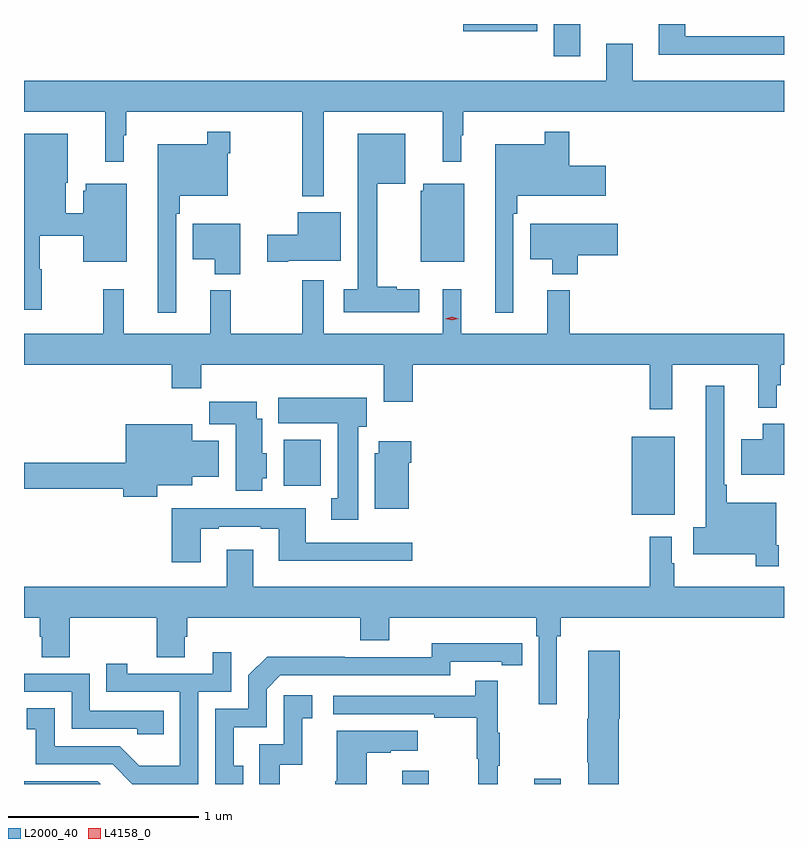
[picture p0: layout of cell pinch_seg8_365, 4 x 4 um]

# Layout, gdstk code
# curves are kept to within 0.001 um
import gdstk
lib = gdstk.Library(unit=1e-6, precision=1e-09)
def R(c, l, rs):  # rectangles x0, y0, x1, y1
    for r in rs: c.add(gdstk.rectangle(r[:2], r[2:], *l))
def P(c, l, *ps):  # polygons
    for p in ps: c.add(gdstk.Polygon(p, *l))
L2000_40 = (2000, 40)
L4158_0 = (4158, 0)

pinch_seg8_365 = lib.new_cell('pinch_seg8_365')
R(pinch_seg8_365, L2000_40, [(486.479,1099.642,486.619,1099.711), (487.175,1099.642,487.315,1099.669), (487.688,1101.059,487.915,1101.469), (485.855,1101.212,486.052,1101.454), (487.277,1103.472,487.417,1103.642), (486.8,1103.603,487.189,1103.642)])
P(pinch_seg8_365, L2000_40, [(488.489,1103.577),(487.969,1103.577),(487.969,1103.642),(487.829,1103.642),(487.829,1103.48),(488.489,1103.48)],
  [(486.067,1103.18),(486.692,1103.18),(486.692,1102.917),(486.79,1102.917),(486.79,1103.057),(486.802,1103.057),(486.802,1103.18),(488.489,1103.18),(488.489,1103.344),(487.693,1103.344),(487.693,1103.539),(487.553,1103.539),(487.553,1103.344),(484.489,1103.344),(484.489,1103.18),(484.916,1103.18),(484.916,1102.917),(485.014,1102.917),(485.014,1103.057),(485.026,1103.057),(485.026,1103.18),(485.953,1103.18),(485.953,1102.736),(486.067,1102.736)],
  [(485.289,1102.643),(485.309,1102.643),(485.309,1102.739),(485.562,1102.739),(485.562,1102.961),(485.575,1102.961),(485.575,1103.074),(485.454,1103.074),(485.454,1103.008),(485.192,1103.008),(485.192,1102.122),(485.289,1102.122)],
  [(487.065,1102.643),(487.085,1102.643),(487.085,1102.739),(487.552,1102.739),(487.552,1102.897),(487.358,1102.897),(487.358,1103.074),(487.23,1103.074),(487.23,1103.008),(486.968,1103.008),(486.968,1102.122),(487.065,1102.122)],
  [(486.568,1102.246),(486.45,1102.246),(486.45,1102.259),(486.349,1102.259),(486.349,1102.802),(486.496,1102.802),(486.496,1103.065),(486.245,1103.065),(486.245,1102.246),(486.171,1102.246),(486.171,1102.124),(486.568,1102.124)],
  [(484.583,1102.35),(484.573,1102.35),(484.573,1102.528),(484.802,1102.528),(484.802,1102.391),(485.029,1102.391),(485.029,1102.801),(484.814,1102.801),(484.814,1102.764),(484.802,1102.764),(484.802,1102.645),(484.708,1102.645),(484.708,1102.806),(484.72,1102.806),(484.72,1103.065),(484.489,1103.065),(484.489,1102.137),(484.583,1102.137)],
  [(486.805,1102.801),(486.59,1102.801),(486.59,1102.764),(486.578,1102.764),(486.578,1102.391),(486.805,1102.391)],
  [(485.881,1102.397),(486.157,1102.397),(486.157,1102.651),(485.93,1102.651),(485.93,1102.532),(485.769,1102.532),(485.769,1102.39),(485.881,1102.39)],
  [(485.626,1102.591),(485.378,1102.591),(485.378,1102.403),(485.492,1102.403),(485.492,1102.325),(485.626,1102.325)],
  [(487.403,1102.426),(487.615,1102.426),(487.615,1102.591),(487.154,1102.591),(487.154,1102.403),(487.268,1102.403),(487.268,1102.325),(487.403,1102.325)],
  [(485.015,1102.246),(484.905,1102.246),(484.905,1102.012),(484.489,1102.012),(484.489,1101.848),(485.267,1101.848),(485.267,1101.724),(485.423,1101.724),(485.423,1101.848),(486.383,1101.848),(486.383,1101.654),(486.536,1101.654),(486.536,1101.848),(487.783,1101.848),(487.783,1101.615),(487.901,1101.615),(487.901,1101.848),(488.354,1101.848),(488.354,1101.623),(488.452,1101.623),(488.452,1101.741),(488.471,1101.741),(488.471,1101.848),(488.489,1101.848),(488.489,1102.012),(487.361,1102.012),(487.361,1102.24),(487.244,1102.24),(487.244,1102.012),(486.791,1102.012),(486.791,1102.246),(486.693,1102.246),(486.693,1102.012),(486.067,1102.012),(486.067,1102.294),(485.953,1102.294),(485.953,1102.012),(485.578,1102.012),(485.578,1102.24),(485.468,1102.24),(485.468,1102.012),(485.015,1102.012)],
  [(488.461,1100.899),(488.448,1100.899),(488.448,1101.121),(488.188,1101.121),(488.188,1101.217),(488.175,1101.217),(488.175,1101.739),(488.078,1101.739),(488.078,1100.993),(488.012,1100.993),(488.012,1100.852),(488.34,1100.852),(488.34,1100.787),(488.461,1100.787)],
  [(486.247,1101.522),(486.292,1101.522),(486.292,1101.676),(485.828,1101.676),(485.828,1101.542),(486.14,1101.542),(486.14,1101.146),(486.107,1101.146),(486.107,1101.033),(486.247,1101.033)],
  [(485.743,1101.252),(485.767,1101.252),(485.767,1101.384),(485.743,1101.384),(485.743,1101.565),(485.713,1101.565),(485.713,1101.655),(485.464,1101.655),(485.464,1101.536),(485.603,1101.536),(485.603,1101.185),(485.743,1101.185)],
  [(488.489,1101.538),(488.378,1101.538),(488.378,1101.457),(488.264,1101.457),(488.264,1101.269),(488.489,1101.269)],
  [(485.19,1101.215),(485.374,1101.215),(485.374,1101.26),(485.515,1101.26),(485.515,1101.448),(485.374,1101.448),(485.374,1101.535),(485.024,1101.535),(485.024,1101.332),(484.489,1101.332),(484.489,1101.196),(485.012,1101.196),(485.012,1101.154),(485.19,1101.154)],
  [(486.514,1101.332),(486.527,1101.332),(486.527,1101.445),(486.356,1101.445),(486.356,1101.384),(486.335,1101.384),(486.335,1101.092),(486.514,1101.092)],
  [(485.419,1100.985),(485.515,1100.985),(485.515,1100.997),(485.735,1100.997),(485.735,1100.985),(485.831,1100.985),(485.831,1100.816),(486.532,1100.816),(486.532,1100.913),(485.971,1100.913),(485.971,1101.093),(485.267,1101.093),(485.267,1100.808),(485.419,1100.808)],
  [(487.294,1100.42),(487.313,1100.42),(487.313,1100.516),(488.489,1100.516),(488.489,1100.68),(487.912,1100.68),(487.912,1100.804),(487.899,1100.804),(487.899,1100.944),(487.783,1100.944),(487.783,1100.68),(485.695,1100.68),(485.695,1100.875),(485.555,1100.875),(485.555,1100.68),(484.489,1100.68),(484.489,1100.516),(484.571,1100.516),(484.571,1100.418),(484.583,1100.418),(484.583,1100.308),(484.731,1100.308),(484.731,1100.516),(485.188,1100.516),(485.188,1100.308),(485.335,1100.308),(485.335,1100.418),(485.348,1100.418),(485.348,1100.516),(486.26,1100.516),(486.26,1100.399),(486.412,1100.399),(486.412,1100.516),(487.184,1100.516),(487.184,1100.42),(487.197,1100.42),(487.197,1100.061),(487.294,1100.061)],
  [(485.642,1099.737),(485.593,1099.737),(485.593,1099.941),(485.766,1099.941),(485.766,1100.142),(485.838,1100.214),(486.732,1100.214),(486.732,1100.286),(487.004,1100.286),(487.004,1100.266),(487.112,1100.266),(487.112,1100.382),(486.636,1100.383),(486.636,1100.31),(486.176,1100.31),(486.176,1100.312),(485.768,1100.312),(485.67,1100.214),(485.67,1100.037),(485.496,1100.037),(485.496,1099.642),(485.642,1099.642)],
  [(487.619,1099.986),(487.624,1099.986),(487.624,1100.344),(487.46,1100.344),(487.46,1099.986),(487.453,1099.986),(487.453,1099.756),(487.46,1099.756),(487.46,1099.642),(487.619,1099.642)],
  [(485.406,1100.127),(485.58,1100.127),(485.58,1100.335),(485.483,1100.335),(485.483,1100.223),(485.032,1100.223),(485.032,1100.275),(484.921,1100.275),(484.921,1100.127),(485.31,1100.127),(485.31,1099.738),(485.096,1099.738),(484.992,1099.842),(484.65,1099.842),(484.65,1100.041),(484.503,1100.041),(484.503,1099.931),(484.552,1099.931),(484.552,1099.746),(484.955,1099.746),(485.059,1099.642),(485.406,1099.642)],
  [(485.225,1100.028),(484.836,1100.028),(484.836,1100.223),(484.489,1100.223),(484.489,1100.127),(484.74,1100.127),(484.74,1099.932),(485.085,1099.932),(485.085,1099.905),(485.225,1099.905)],
  [(486.983,1099.739),(486.994,1099.739),(486.994,1099.913),(486.983,1099.913),(486.983,1100.185),(486.865,1100.185),(486.865,1100.106),(486.117,1100.106),(486.117,1100.01),(486.649,1100.01),(486.649,1099.99),(486.873,1099.99),(486.873,1099.776),(486.88,1099.776),(486.88,1099.642),(486.983,1099.642)],
  [(485.836,1099.743),(485.954,1099.743),(485.954,1099.989),(486.007,1099.989),(486.007,1100.11),(485.856,1100.11),(485.856,1099.851),(485.727,1099.851),(485.727,1099.642),(485.836,1099.642)],
  [(486.292,1099.807),(486.419,1099.807),(486.419,1099.817),(486.562,1099.817),(486.562,1099.921),(486.134,1099.921),(486.134,1099.657),(486.127,1099.657),(486.127,1099.642),(486.292,1099.642)],
  [(484.878,1099.656),(484.489,1099.656),(484.489,1099.642),(484.892,1099.642)])
P(pinch_seg8_365, L4158_0, [(486.741,1102.082),(486.706,1102.092),(486.706,1102.092),(486.706,1102.092),(486.741,1102.102),(486.777,1102.092),(486.777,1102.092),(486.777,1102.092)])

lib.write_gds('pinch_seg8_365.gds')
